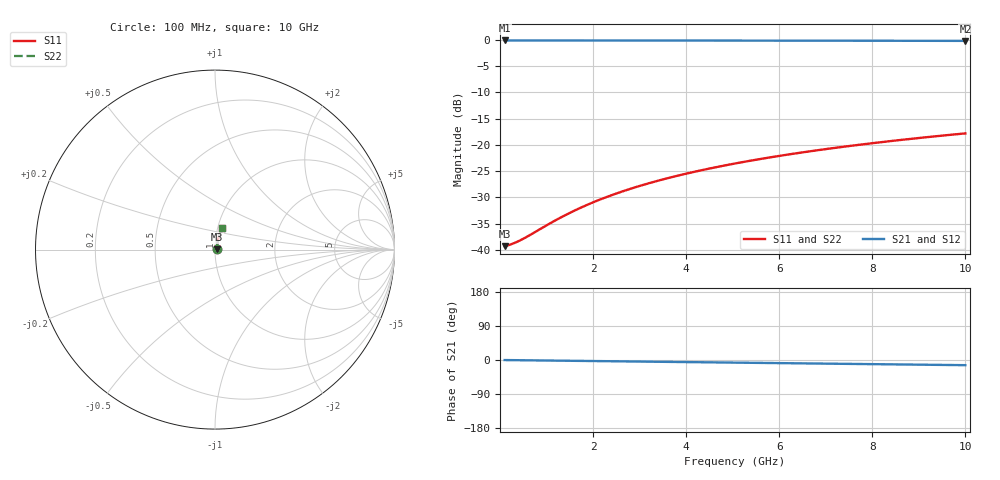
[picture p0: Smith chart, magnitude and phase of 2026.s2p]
# Hz S RI R 50.00
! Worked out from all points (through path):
!   100 points, 100 MHz to 10 GHz, reference 50 ohm
!   highest |S21| = -0.09 dB at 100 MHz (marker M1); lowest = -0.2 dB at 10 GHz (marker M2)
!   group delay of S21, straight-line fit = 3.79 ps
!   lowest |S11| = -39.3 dB at 100 MHz (marker M3), VSWR 1.02, Z = 51.1 + j0.131 ohm
!   |S11| at or under -10 dB: start of sweep to end of sweep
!   |S22| runs from -39.3 to -17.8 dB; largest |S21 - S12| = 0
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1e8  0.0108 0.00128  0.9892 -0.00237  0.9892 -0.00237  0.0108 0.00128
2e8  0.0109 0.00256  0.9891 -0.00474  0.9891 -0.00474  0.0109 0.00256
3e8  0.0109 0.00383  0.9891 -0.00711  0.9891 -0.00711  0.0109 0.00383
4e8  0.011 0.00511  0.989 -0.00948  0.989 -0.00948  0.011 0.00511
6e8  0.0111 0.00766  0.9889 -0.0142  0.9889 -0.0142  0.0111 0.00766
1e9  0.0114 0.0128  0.9885 -0.0237  0.9885 -0.0237  0.0114 0.0128
1.3e9  0.0117 0.0166  0.9882 -0.0308  0.9882 -0.0308  0.0117 0.0166
1.5e9  0.0119 0.0191  0.988 -0.0355  0.988 -0.0355  0.0119 0.0191
1.8e9  0.0122 0.0229  0.9876 -0.0426  0.9876 -0.0426  0.0122 0.0229
2.1e9  0.0126 0.0267  0.9871 -0.0497  0.9871 -0.0497  0.0126 0.0267
2.5e9  0.0132 0.0318  0.9864 -0.0591  0.9864 -0.0591  0.0132 0.0318
2.9e9  0.014 0.0369  0.9855 -0.0685  0.9855 -0.0685  0.014 0.0369
3.4e9  0.015 0.0431  0.9843 -0.0803  0.9843 -0.0803  0.015 0.0431
3.8e9  0.0159 0.0482  0.9832 -0.0897  0.9832 -0.0897  0.0159 0.0482
4.2e9  0.0169 0.0531  0.982 -0.099  0.982 -0.099  0.0169 0.0531
4.6e9  0.018 0.0581  0.9807 -0.1083  0.9807 -0.1083  0.018 0.0581
5.1e9  0.0195 0.0643  0.9789 -0.12  0.9789 -0.12  0.0195 0.0643
5.9e9  0.0222 0.0741  0.9756 -0.1385  0.9756 -0.1385  0.0222 0.0741
6.7e9  0.0253 0.0837  0.972 -0.1569  0.972 -0.1569  0.0253 0.0837
7.5e9  0.0287 0.0932  0.9678 -0.1752  0.9678 -0.1752  0.0287 0.0932
8.4e9  0.033 0.1038  0.9627 -0.1955  0.9627 -0.1955  0.033 0.1038
1e10  0.0417 0.1219  0.9522 -0.2312  0.9522 -0.2312  0.0417 0.1219
